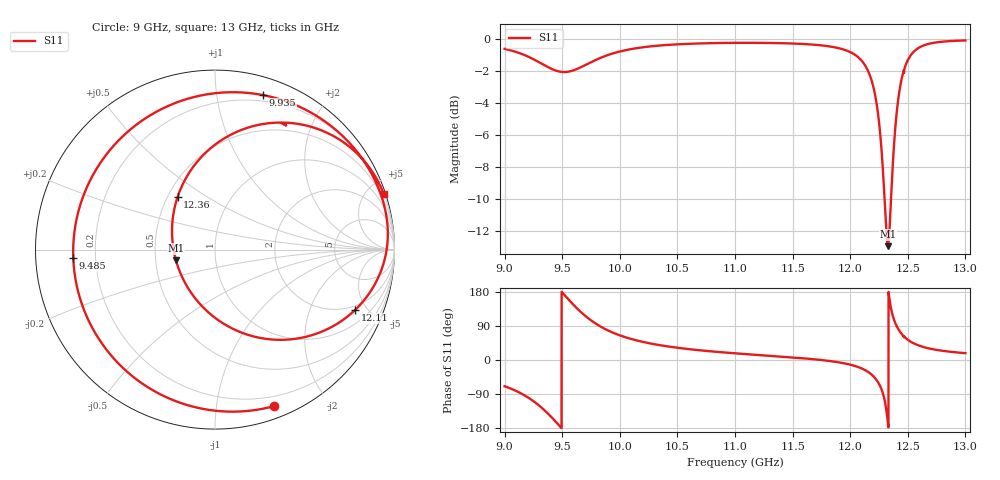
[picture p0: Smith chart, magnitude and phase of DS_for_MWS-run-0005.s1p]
! TOUCHSTONE file generated by CST DESIGN STUDIO
! Date and time: Tue Feb  4 13:42:04 2025
! Project name: C:\Work\MatlabApps\UnitCellOptimizationMatlab\CST\unitcell.cst
! Tree item: Tasks\Sweep1\SPara1\S-Parameters
! Header version: 2024
! Port assignment regex: !\s*Touchstone port\s*([0-9]+)\s*=\s*(CST MWS port|CST DES external port|CST DES block port)\s*(.+)\s* \(\"(.*)\"\)(\s*mode\s*([0-9]+))?.*
! Touchstone port assignment:
! Touchstone port 1 = CST DES external port 1 ("")
# GHz S MA R 50
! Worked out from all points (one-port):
!   4001 points, 9 GHz to 13 GHz, reference 50 ohm
!   lowest |S11| = -12.9 dB at 12.33 GHz (marker M1), VSWR 1.58, Z = 31.9 - j3.97 ohm
!   |S11| at or under -10 dB: 12.29812 GHz to 12.35441 GHz (56.29 MHz wide, 0.457 % of centre)
!   S11 on the Smith chart (normalised r, x): 9 GHz: 0.11, -1.44; 9.485 GHz: 0.12, -0.03; 9.935 GHz: 0.15, +1.34; 12.11 GHz: 1.72, -4.18; 12.36 GHz: 0.56, +0.38; 13 GHz: 0.19, +6.28
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9  0.9324 -69.2
9.156  0.8968 -90.4
9.27  0.8581 -113.0
9.37  0.8199 -139.5
9.485  0.791 -176.7
9.5  0.7899 178.2
9.586  0.7964 149.4
9.701  0.83 116.2
9.804  0.8651 93.5
9.935  0.9013 72.9
10  0.915 65.1
10.215  0.9446 46.8
10.5  0.9634 32.3
11  0.9738 17.6
11.5  0.9691 6.7
12  0.9112 -12.3
12.107  0.85 -23.3
12.184  0.7464 -38.0
12.249  0.5557 -62.5
12.288  0.3686 -92.3
12.327  0.2255 -164.8
12.362  0.3593 125.5
12.392  0.5311 97.1
12.421  0.6649 79.8
12.5  0.8595 53.4
12.572  0.9273 41.1
12.667  0.9635 31.7
13  0.9906 18.1
